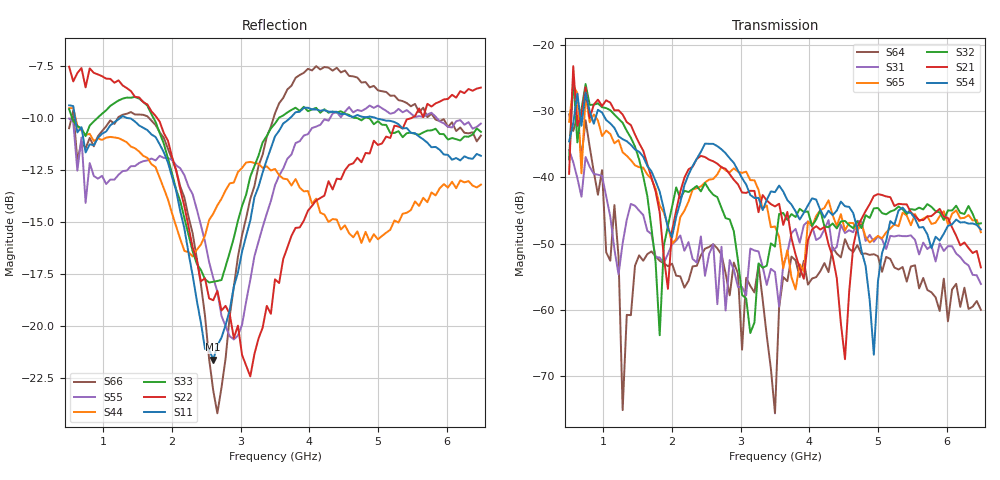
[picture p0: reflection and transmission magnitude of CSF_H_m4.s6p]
!Keysight Technologies,M9804A,MY58100912,A.14.10.03
!Date: Thursday, April 27, 2023 10:28:33
!Correction: S11(C  6-Port  )
!S12(C  6-Port  )
!S13(C  6-Port  )
!S14(C  6-Port  )
!S15(C  6-Port  )
!S16(C  6-Port  )
!S21(C  6-Port  )
!S22(C  6-Port  )
!S23(C  6-Port  )
!S24(C  6-Port  )
!S25(C  6-Port  )
!S26(C  6-Port  )
!S31(C  6-Port  )
!S32(C  6-Port  )
!S33(C  6-Port  )
!S34(C  6-Port  )
!S35(C  6-Port  )
!S36(C  6-Port  )
!S41(C  6-Port  )
!S42(C  6-Port  )
!S43(C  6-Port  )
!S44(C  6-Port  )
!S45(C  6-Port  )
!S46(C  6-Port  )
!S51(C  6-Port  )
!S52(C  6-Port  )
!S53(C  6-Port  )
!S54(C  6-Port  )
!S55(C  6-Port  )
!S56(C  6-Port  )
!S61(C  6-Port  )
!S62(C  6-Port  )
!S63(C  6-Port  )
!S64(C  6-Port  )
!S65(C  6-Port  )
!S66(C  6-Port  )
!S6P File: Measurement: :
# Hz S  RI  R 50
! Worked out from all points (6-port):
!   101 points, 500 MHz to 6.5 GHz, reference 50 ohm
!   strongest paths, dB at 500 MHz, 2 GHz, 3.5 GHz, 5 GHz, 6.5 GHz:
!     S54: -34.6, -49.0, -42.2, -55.7, -47.9
!     S21: -39.5, -48.1, -44.4, -42.5, -53.6
!     S32: -37.3, -44.4, -50.5, -44.6, -46.9
!     S65: -31.6, -50.0, -47.4, -48.8, -48.3
!     S31: -35.9, -50.1, -54.3, -48.9, -56.1
!     S64: -30.5, -53.0, -75.6, -51.9, -60.0
!   lowest |S11| = -21.6 dB at 2.6 GHz (marker M1), VSWR 1.18, Z = 42.6 + j2.04 ohm
!   |S11| at or under -10 dB: 587.8 MHz to 1.239 GHz (651.6 MHz wide, 71.3 % of centre); 1.369 GHz to 3.716 GHz (2.347 GHz wide, 92.3 % of centre); 4.976 GHz to end of sweep
